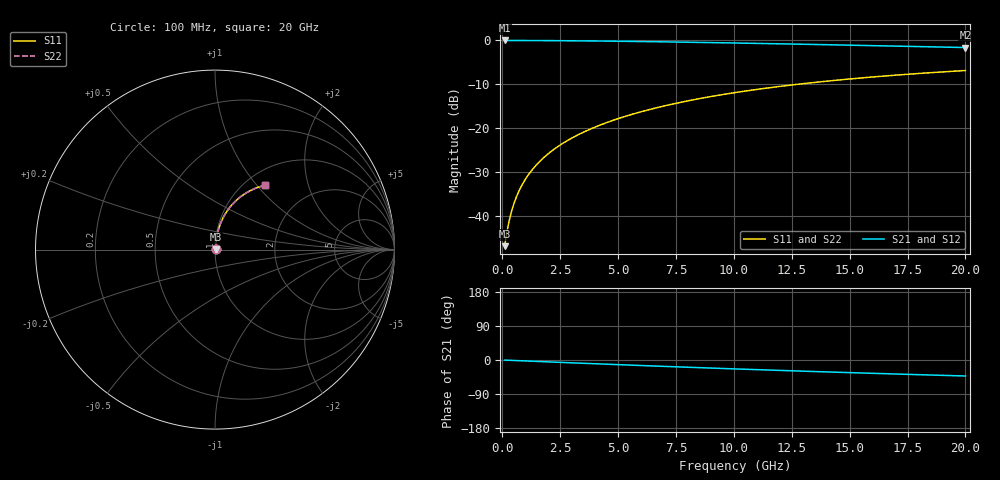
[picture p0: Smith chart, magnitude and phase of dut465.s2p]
! Touchstone file exported from HFSS 2024.1.0
!  File:  C:/UserFiles/LocalFiles/RDL_TSV_Batchsim/temp_RDL_bottom_465_1779685678.aedt
!  Generated:  01:10:44 PM May 25, 2026
!  Design:  RDL_bottom
!  Project:  temp_RDL_bottom_465_1779685678
!  Setup:  Setup1
!  Solution:  Sweep
! Variables:
!  dtsv = 10.80580581um
!  hbump = 3um
!  htsv = 80.96um
!  ldown = 531.6um
!  lrdl = 100um
!  p = 40
!  p1 = 56.95um
!  rhole = 1um
!  t = 450um
!  tdown = 3.31um
!  trdl = 3.915915916um
!  wdown = 16.55um
!  wrdl = 20um
# GHz S MA R 50.000000
! Terminal data exported
! Port[1] = RDL1_T1
! Port[2] = RDL1_T2
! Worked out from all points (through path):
!   200 points, 100 MHz to 20 GHz, reference 50 ohm
!   highest |S21| = -0.03 dB at 100 MHz (marker M1); lowest = -1.6 dB at 20 GHz (marker M2)
!   group delay of S21, straight-line fit = 5.85 ps
!   lowest |S11| = -47.0 dB at 100 MHz (marker M3), VSWR 1.01, Z = 50.4 + j0.269 ohm
!   |S11| at or under -10 dB: start of sweep to 12.82 GHz
!   |S22| runs from -47.0 to -6.9 dB; largest |S21 - S12| = 3e-15
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0.1  0.004467 36.8  0.9964 -0.3  0.9964 -0.3  0.004467 36.8
! Gamma 0 0 0 0
! Port Impedance 50 0 50 0
0.2  0.006465 55.3  0.9963 -0.5  0.9963 -0.5  0.006465 55.3
0.3  0.008786 64.3  0.9962 -0.8  0.9962 -0.8  0.008786 64.3
0.4  0.0112 69.3  0.996 -1.0  0.996 -1.0  0.0112 69.3
0.5  0.01364 72.4  0.9958 -1.3  0.9958 -1.3  0.01364 72.4
0.6  0.0161 74.6  0.9957 -1.5  0.9957 -1.5  0.0161 74.6
0.8  0.02103 77.4  0.9953 -2.0  0.9953 -2.0  0.02103 77.4
1.1  0.02849 79.7  0.9948 -2.8  0.9948 -2.8  0.02849 79.7
1.5  0.03851 81.2  0.9938 -3.8  0.9938 -3.8  0.03851 81.2
1.8  0.04607 81.7  0.993 -4.5  0.993 -4.5  0.04607 81.7
2.1  0.05365 81.9  0.992 -5.3  0.992 -5.3  0.05365 81.9
2.7  0.06887 81.9  0.9896 -6.8  0.9896 -6.8  0.06886 81.9
3.5  0.08924 81.3  0.9857 -8.7  0.9857 -8.7  0.08923 81.3
4.2  0.1071 80.5  0.9816 -10.4  0.9816 -10.4  0.1071 80.5
5  0.1276 79.4  0.9763 -12.3  0.9763 -12.3  0.1275 79.4
5.9  0.1505 78.0  0.9696 -14.4  0.9696 -14.4  0.1505 78.0
6.8  0.1733 76.4  0.9623 -16.5  0.9623 -16.5  0.1733 76.4
8.4  0.2132 73.5  0.948 -20.0  0.948 -20.0  0.2132 73.5
10.1  0.2543 70.3  0.9316 -23.6  0.9316 -23.6  0.2542 70.3
13.4  0.3288 64.0  0.8976 -30.3  0.8976 -30.3  0.3287 64.0
16.7  0.3949 58.0  0.8624 -36.5  0.8624 -36.5  0.3947 58.0
20  0.4521 52.3  0.8272 -42.2  0.8272 -42.2  0.4519 52.3
